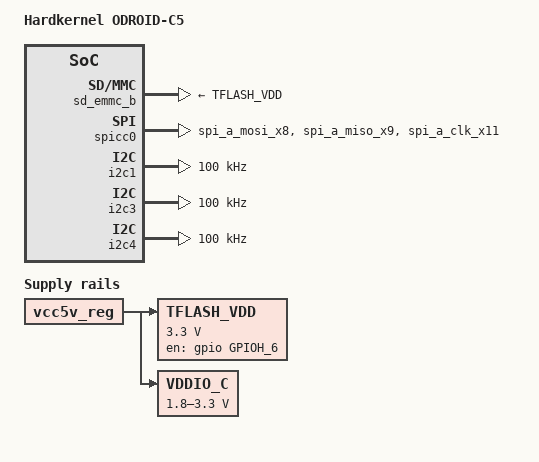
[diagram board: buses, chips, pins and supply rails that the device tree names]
#include "s7d_s905x5m_4g_1gbit.dts"

/{
	model = "Hardkernel ODROID-C5";
	coreelec-dt-id = "s7d_s905x5m_odroid_c5";

  TFLASH_VDD: fixed@sdcard-3v3 {
		compatible = "regulator-fixed";
		regulator-name = "TFLASH_VDD";
		vin-supply = <&vcc5v_reg>;
		regulator-min-microvolt = <3300000>;
		regulator-max-microvolt = <3300000>;
		// GPIOH_6(Up) Output H= Enable SD_3V3
		gpio = <&gpio GPIOH_6 GPIO_ACTIVE_HIGH>;
		enable-active-high; //3.3V , high: 0V
		regulator-boot-on;
		regulator-always-on;
	};

	VDDIO_C: gpio@sdcard-1v8_3v3 {
		compatible = "regulator-gpio";
		regulator-name = "VDDIO_C";
		vin-supply = <&vcc5v_reg>;
		regulator-min-microvolt = <1800000>;
		regulator-max-microvolt = <3300000>;
		// GPIODV_4(DOWN) H: 1.8V, L: 3.3V
		gpio = <&gpio GPIODV_4 GPIO_ACTIVE_HIGH>;
		gpios-states = <0>;

		/* Based on P200 schematics, signal CARD_1.8V/3.3V_CTR */
		states = <1800000 1
			  3300000 0>;
	};

	gpioleds {
		sys_led {
			linux,default-trigger = "heartbeat";
		};
		red_led {
			linux,default-trigger = "default-on";
			gpios = <&gpio GPIODV_6 GPIO_ACTIVE_LOW>;
		};
	};

	/delete-node/ aml_bt;
	/delete-node/ aml_wifi;
	/delete-node/ wifi_pwm_conf;

  gpio-reset {
		compatible = "linux,gpio-reset";

		usb_hub {
			gpios = <&gpio GPIOX_19 (GPIO_ACTIVE_HIGH | GPIO_OPEN_DRAIN)>;
			asserted-state = <0>;
			duration-ms = <100>;
		};
	};

  auge_sound {
		/delete-property/ avout_mute-gpios;
  };
};

&periphs_pinctrl {
	pwm_a_gpio_x6: pwm_a_gpio_x6 {
		mux {
			groups = "pwm_a_x6";
			function = "pwm_a";
		};
	};

  pwm_b_gpio_d4: pwm_b_gpio_d4 {
		mux {
			groups = "pwm_b_d4";
			function = "pwm_b";
		};
	};

  pwm_c_gpio_dv2: pwm_c_gpio_dv2 {
		mux {
			groups = "pwm_c_dv2";
			function = "pwm_c";
		};
	};

  pwm_e_gpio_x16: pwm_e_gpio_x16 {
		mux {
			groups = "pwm_e_x16";
			function = "pwm_e";
		};
	};

  pwm_f_gpio_x7: pwm_f_gpio_x7 {
		mux {
			groups = "pwm_f_x7";
			function = "pwm_f";
		};
	};

  spi0_pins: spicc0_pins {
		mux {
			groups = "spi_a_mosi_x8",
					 "spi_a_miso_x9",
					 "spi_a_ss0_x10",
					 "spi_a_clk_x11";
			function = "spi_a";
			drive-strength = <3>;
		};
	};

	spi0_pins_sw: spicc0_pins_sw {
		mux {
			groups = "spi_a_mosi_x8",
					 "spi_a_miso_x9",
//					 "spi_a_ss0_x10",
					 "spi_a_clk_x11";
			function = "spi_a";
			drive-strength = <3>;
		};
	};

  a_uart_pins_not_cts_rts:a_uart_not_cts_rts {
		mux {
			groups = "uart_a_tx",
					 "uart_a_rx";
			function = "uart_a";
			drive-strength-microamp = <3000>;
			bias-pull-up;
		};
	};
};

&pwm_a {
	pinctrl-0 = <&pwm_a_gpio_x6>;
	pinctrl-names = "default";
	status = "disabled";
};

&pwm_b {
	pinctrl-0 = <&pwm_b_gpio_d4>;
	pinctrl-names = "default";
	status = "disabled";
};

&pwm_c {
	pinctrl-0 = <&pwm_c_gpio_dv2>;
	pinctrl-names = "default";
	status = "disabled";
};

&pwm_e {
	pinctrl-0 = <&pwm_e_gpio_x16>;
	pinctrl-names = "default";
	status = "disabled";
};

&pwm_f {
	pinctrl-0 = <&pwm_f_gpio_x7>;
	pinctrl-names = "default";
	status = "disabled";
};

&spdifa {
	/delete-property/ pinctrl-names;
	/delete-property/ pinctrl-0;
	/delete-property/ pinctrl-1;
};

&sd_emmc_a {
	status = "disabled";
	/delete-node/ wifi@1;
};

&sd_emmc_b {
	vmmc-supply = <&TFLASH_VDD>;
	vqmmc-supply = <&VDDIO_C>;
};

&gpio_intc {
	mboxes = <&mbox_fifo S7D_REE2AO_KEYPAD>;
};

&spicc0 {
	pinctrl-0 = <&spi0_pins_sw>;
	pinctrl-1 = <&spi0_pins>;
};

&uart_A {
	status = "disabled";
	pinctrl-0 = <&a_uart_pins_not_cts_rts>;
	pinctrl-1 = <&a_uart_pins>;
	pinctrl-names = "default";
	/delete-property/ uart_for_bt;
};

&i2c1 {
	pinctrl-0 = <&i2c1_pins4>;
	pinctrl-names = "default";
	clock-frequency = <100000>;		/* default 100k */
};

&i2c3 {
	pinctrl-0 = <&i2c3_pins1>;
	clock-frequency = <100000>;		/* default 100k */
};

&i2c4 {
	pinctrl-0 = <&i2c4_pins2>;
	clock-frequency = <100000>;		/* default 100k */
};

&amhdmitx {
	vend_data {
		vendor_name = "HK";
		product_desc = "ODROID-C5";
	};
};
